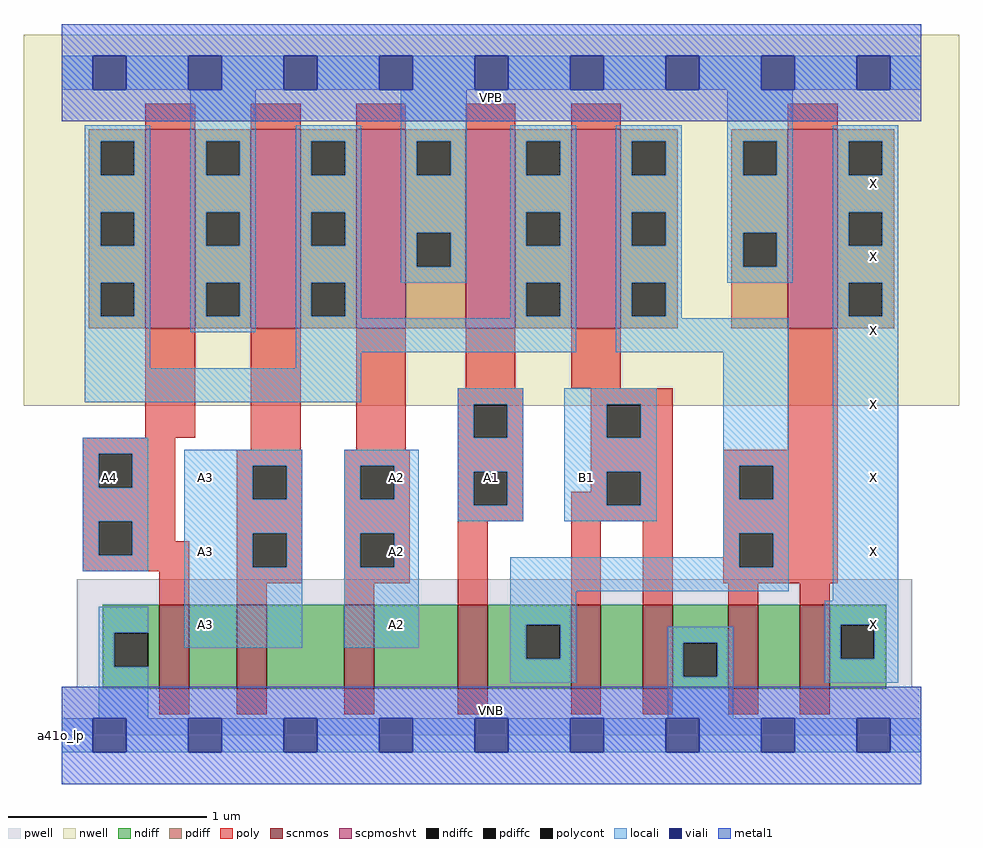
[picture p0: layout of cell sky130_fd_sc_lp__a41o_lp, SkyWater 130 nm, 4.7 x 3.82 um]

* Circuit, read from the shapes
.subckt sky130_fd_sc_lp__a41o_lp A1 A2 A3 A4 B1 VGND VNB VPB VPWR X
XM1 n1 A4 VGND VNB sky130_fd_pr__nfet_01v8 w=0.42 l=0.15
XM2 n2 A3 n1 VNB sky130_fd_pr__nfet_01v8 w=0.42 l=0.15
XM3 n3 A2 n2 VNB sky130_fd_pr__nfet_01v8 w=0.42 l=0.15
XM4 n4 A1 n3 VNB sky130_fd_pr__nfet_01v8 w=0.42 l=0.15
XM5 n5 B1 n4 VNB sky130_fd_pr__nfet_01v8 w=0.42 l=0.15
XM6 VGND B1 n5 VNB sky130_fd_pr__nfet_01v8 w=0.42 l=0.15
XM7 n6 n4 VGND VNB sky130_fd_pr__nfet_01v8 w=0.42 l=0.15
XM8 X n4 n6 VNB sky130_fd_pr__nfet_01v8 w=0.42 l=0.15
XM9 VPWR A4 n7 VPB sky130_fd_pr__pfet_01v8_hvt w=1 l=0.25
XM10 n7 A3 VPWR VPB sky130_fd_pr__pfet_01v8_hvt w=1 l=0.25
XM11 VPWR A2 n7 VPB sky130_fd_pr__pfet_01v8_hvt w=1 l=0.25
XM12 n7 A1 VPWR VPB sky130_fd_pr__pfet_01v8_hvt w=1 l=0.25
XM13 n4 B1 n7 VPB sky130_fd_pr__pfet_01v8_hvt w=1 l=0.25
XM14 X n4 VPWR VPB sky130_fd_pr__pfet_01v8_hvt w=1 l=0.25
.ends

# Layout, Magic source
magic
tech sky130A
magscale 1 2
<< nwell >>
rect -38 331 902 704
<< pwell >>
rect 15 49 855 157
rect 0 0 864 49
<< scnmos >>
rect 98 47 128 131
rect 176 47 206 131
rect 284 47 314 131
rect 398 47 428 131
rect 512 47 542 131
rect 584 47 614 131
rect 670 47 700 131
rect 742 47 772 131
<< scpmoshvt >>
rect 84 409 134 609
rect 190 409 240 609
rect 296 409 346 609
rect 406 409 456 609
rect 512 409 562 609
rect 730 409 780 609
<< ndiff >>
rect 41 103 98 131
rect 41 69 53 103
rect 87 69 98 103
rect 41 47 98 69
rect 128 47 176 131
rect 206 47 284 131
rect 314 47 398 131
rect 428 111 512 131
rect 428 77 467 111
rect 501 77 512 111
rect 428 47 512 77
rect 542 47 584 131
rect 614 93 670 131
rect 614 59 625 93
rect 659 59 670 93
rect 614 47 670 59
rect 700 47 742 131
rect 772 111 829 131
rect 772 77 783 111
rect 817 77 829 111
rect 772 47 829 77
<< pdiff >>
rect 27 597 84 609
rect 27 563 39 597
rect 73 563 84 597
rect 27 526 84 563
rect 27 492 39 526
rect 73 492 84 526
rect 27 455 84 492
rect 27 421 39 455
rect 73 421 84 455
rect 27 409 84 421
rect 134 597 190 609
rect 134 563 145 597
rect 179 563 190 597
rect 134 526 190 563
rect 134 492 145 526
rect 179 492 190 526
rect 134 455 190 492
rect 134 421 145 455
rect 179 421 190 455
rect 134 409 190 421
rect 240 597 296 609
rect 240 563 251 597
rect 285 563 296 597
rect 240 526 296 563
rect 240 492 251 526
rect 285 492 296 526
rect 240 455 296 492
rect 240 421 251 455
rect 285 421 296 455
rect 240 409 296 421
rect 346 597 406 609
rect 346 563 357 597
rect 391 563 406 597
rect 346 505 406 563
rect 346 471 357 505
rect 391 471 406 505
rect 346 409 406 471
rect 456 597 512 609
rect 456 563 467 597
rect 501 563 512 597
rect 456 526 512 563
rect 456 492 467 526
rect 501 492 512 526
rect 456 455 512 492
rect 456 421 467 455
rect 501 421 512 455
rect 456 409 512 421
rect 562 597 619 609
rect 562 563 573 597
rect 607 563 619 597
rect 562 526 619 563
rect 562 492 573 526
rect 607 492 619 526
rect 562 455 619 492
rect 562 421 573 455
rect 607 421 619 455
rect 562 409 619 421
rect 673 597 730 609
rect 673 563 685 597
rect 719 563 730 597
rect 673 505 730 563
rect 673 471 685 505
rect 719 471 730 505
rect 673 409 730 471
rect 780 597 837 609
rect 780 563 791 597
rect 825 563 837 597
rect 780 526 837 563
rect 780 492 791 526
rect 825 492 837 526
rect 780 455 837 492
rect 780 421 791 455
rect 825 421 837 455
rect 780 409 837 421
<< ndiffc >>
rect 53 69 87 103
rect 467 77 501 111
rect 625 59 659 93
rect 783 77 817 111
<< pdiffc >>
rect 39 563 73 597
rect 39 492 73 526
rect 39 421 73 455
rect 145 563 179 597
rect 145 492 179 526
rect 145 421 179 455
rect 251 563 285 597
rect 251 492 285 526
rect 251 421 285 455
rect 357 563 391 597
rect 357 471 391 505
rect 467 563 501 597
rect 467 492 501 526
rect 467 421 501 455
rect 573 563 607 597
rect 573 492 607 526
rect 573 421 607 455
rect 685 563 719 597
rect 685 471 719 505
rect 791 563 825 597
rect 791 492 825 526
rect 791 421 825 455
<< poly >>
rect 84 609 134 635
rect 190 609 240 635
rect 296 609 346 635
rect 406 609 456 635
rect 512 609 562 635
rect 730 609 780 635
rect 84 299 134 409
rect 21 283 114 299
rect 190 287 240 409
rect 296 287 346 409
rect 406 349 456 409
rect 512 349 562 409
rect 398 333 464 349
rect 398 299 414 333
rect 448 299 464 333
rect 21 249 37 283
rect 71 249 114 283
rect 21 215 114 249
rect 21 181 37 215
rect 71 195 114 215
rect 176 271 242 287
rect 176 237 192 271
rect 226 237 242 271
rect 176 203 242 237
rect 71 181 128 195
rect 21 165 128 181
rect 98 131 128 165
rect 176 169 192 203
rect 226 169 242 203
rect 176 153 242 169
rect 284 271 350 287
rect 284 237 300 271
rect 334 237 350 271
rect 284 203 350 237
rect 284 169 300 203
rect 334 169 350 203
rect 284 153 350 169
rect 398 265 464 299
rect 398 231 414 265
rect 448 231 464 265
rect 532 333 614 349
rect 532 299 548 333
rect 582 299 614 333
rect 532 265 614 299
rect 730 287 780 409
rect 532 245 548 265
rect 398 215 464 231
rect 512 231 548 245
rect 582 231 614 265
rect 512 215 614 231
rect 176 131 206 153
rect 284 131 314 153
rect 398 131 428 215
rect 512 131 542 215
rect 584 131 614 215
rect 665 271 780 287
rect 665 237 681 271
rect 715 237 780 271
rect 665 203 780 237
rect 665 169 681 203
rect 715 169 780 203
rect 665 153 780 169
rect 670 131 700 153
rect 742 131 772 153
rect 98 21 128 47
rect 176 21 206 47
rect 284 21 314 47
rect 398 21 428 47
rect 512 21 542 47
rect 584 21 614 47
rect 670 21 700 47
rect 742 21 772 47
<< polycont >>
rect 414 299 448 333
rect 37 249 71 283
rect 37 181 71 215
rect 192 237 226 271
rect 192 169 226 203
rect 300 237 334 271
rect 300 169 334 203
rect 414 231 448 265
rect 548 299 582 333
rect 548 231 582 265
rect 681 237 715 271
rect 681 169 715 203
<< locali >>
rect 0 649 31 683
rect 65 649 127 683
rect 161 649 223 683
rect 257 649 319 683
rect 353 649 415 683
rect 449 649 511 683
rect 545 649 607 683
rect 641 649 703 683
rect 737 649 799 683
rect 833 649 864 683
rect 23 597 89 613
rect 23 563 39 597
rect 73 563 89 597
rect 23 526 89 563
rect 23 492 39 526
rect 73 492 89 526
rect 23 455 89 492
rect 23 421 39 455
rect 73 421 89 455
rect 23 369 89 421
rect 129 597 195 649
rect 129 563 145 597
rect 179 563 195 597
rect 129 526 195 563
rect 129 492 145 526
rect 179 492 195 526
rect 129 455 195 492
rect 129 421 145 455
rect 179 421 195 455
rect 129 405 195 421
rect 235 597 301 613
rect 235 563 251 597
rect 285 563 301 597
rect 235 526 301 563
rect 235 492 251 526
rect 285 492 301 526
rect 235 455 301 492
rect 341 597 407 649
rect 341 563 357 597
rect 391 563 407 597
rect 341 505 407 563
rect 341 471 357 505
rect 391 471 407 505
rect 341 455 407 471
rect 451 597 517 613
rect 451 563 467 597
rect 501 563 517 597
rect 451 526 517 563
rect 451 492 467 526
rect 501 492 517 526
rect 451 455 517 492
rect 235 421 251 455
rect 285 421 301 455
rect 235 419 301 421
rect 451 421 467 455
rect 501 421 517 455
rect 451 419 517 421
rect 235 385 517 419
rect 557 597 623 613
rect 557 563 573 597
rect 607 563 623 597
rect 557 526 623 563
rect 557 492 573 526
rect 607 492 623 526
rect 557 455 623 492
rect 669 597 735 649
rect 669 563 685 597
rect 719 563 735 597
rect 669 505 735 563
rect 669 471 685 505
rect 719 471 735 505
rect 669 455 735 471
rect 775 597 841 613
rect 775 563 791 597
rect 825 563 841 597
rect 775 526 841 563
rect 775 492 791 526
rect 825 492 841 526
rect 775 455 841 492
rect 557 421 573 455
rect 607 421 623 455
rect 557 419 623 421
rect 775 421 791 455
rect 825 421 841 455
rect 557 385 731 419
rect 235 369 301 385
rect 23 335 301 369
rect 398 333 464 349
rect 398 299 414 333
rect 448 299 464 333
rect 21 283 87 299
rect 21 249 37 283
rect 71 249 87 283
rect 21 215 87 249
rect 21 181 37 215
rect 71 181 87 215
rect 21 165 87 181
rect 123 271 242 287
rect 123 237 192 271
rect 226 237 242 271
rect 123 203 242 237
rect 123 169 192 203
rect 226 169 242 203
rect 37 103 87 129
rect 37 69 53 103
rect 123 88 242 169
rect 284 271 359 287
rect 284 237 300 271
rect 334 237 359 271
rect 284 203 359 237
rect 398 265 464 299
rect 398 231 414 265
rect 448 231 464 265
rect 398 215 464 231
rect 505 333 598 349
rect 505 299 548 333
rect 582 299 598 333
rect 505 265 598 299
rect 505 231 548 265
rect 582 231 598 265
rect 505 215 598 231
rect 665 271 731 385
rect 665 237 681 271
rect 715 237 731 271
rect 284 169 300 203
rect 334 169 359 203
rect 665 203 731 237
rect 665 179 681 203
rect 284 88 359 169
rect 451 169 681 179
rect 715 169 731 203
rect 451 145 731 169
rect 451 111 517 145
rect 775 135 841 421
rect 37 17 87 69
rect 451 77 467 111
rect 501 77 517 111
rect 767 111 841 135
rect 451 53 517 77
rect 609 93 675 109
rect 609 59 625 93
rect 659 59 675 93
rect 609 17 675 59
rect 767 77 783 111
rect 817 77 841 111
rect 767 53 841 77
rect 0 -17 31 17
rect 65 -17 127 17
rect 161 -17 223 17
rect 257 -17 319 17
rect 353 -17 415 17
rect 449 -17 511 17
rect 545 -17 607 17
rect 641 -17 703 17
rect 737 -17 799 17
rect 833 -17 864 17
<< viali >>
rect 31 649 65 683
rect 127 649 161 683
rect 223 649 257 683
rect 319 649 353 683
rect 415 649 449 683
rect 511 649 545 683
rect 607 649 641 683
rect 703 649 737 683
rect 799 649 833 683
rect 31 -17 65 17
rect 127 -17 161 17
rect 223 -17 257 17
rect 319 -17 353 17
rect 415 -17 449 17
rect 511 -17 545 17
rect 607 -17 641 17
rect 703 -17 737 17
rect 799 -17 833 17
<< metal1 >>
rect 0 683 864 715
rect 0 649 31 683
rect 65 649 127 683
rect 161 649 223 683
rect 257 649 319 683
rect 353 649 415 683
rect 449 649 511 683
rect 545 649 607 683
rect 641 649 703 683
rect 737 649 799 683
rect 833 649 864 683
rect 0 617 864 649
rect 0 17 864 49
rect 0 -17 31 17
rect 65 -17 127 17
rect 161 -17 223 17
rect 257 -17 319 17
rect 353 -17 415 17
rect 449 -17 511 17
rect 545 -17 607 17
rect 641 -17 703 17
rect 737 -17 799 17
rect 833 -17 864 17
rect 0 -49 864 -17
<< labels >>
flabel pwell s 0 0 864 49 0 FreeSans 200 0 0 0 VNB
port 7 nsew ground bidirectional
flabel nwell s 0 617 864 666 0 FreeSans 200 0 0 0 VPB
port 8 nsew power bidirectional
rlabel comment s 0 0 0 0 4 a41o_lp
flabel metal1 s 0 617 864 666 0 FreeSans 340 0 0 0 VPWR
port 9 nsew power bidirectional
flabel metal1 s 0 0 864 49 0 FreeSans 340 0 0 0 VGND
port 6 nsew ground bidirectional
flabel locali s 511 242 545 276 0 FreeSans 340 0 0 0 B1
port 5 nsew signal input
flabel locali s 31 242 65 276 0 FreeSans 340 0 0 0 A4
port 4 nsew signal input
flabel locali s 127 94 161 128 0 FreeSans 340 0 0 0 A3
port 3 nsew signal input
flabel locali s 127 168 161 202 0 FreeSans 340 0 0 0 A3
port 3 nsew signal input
flabel locali s 127 242 161 276 0 FreeSans 340 0 0 0 A3
port 3 nsew signal input
flabel locali s 319 94 353 128 0 FreeSans 340 0 0 0 A2
port 2 nsew signal input
flabel locali s 319 168 353 202 0 FreeSans 340 0 0 0 A2
port 2 nsew signal input
flabel locali s 319 242 353 276 0 FreeSans 340 0 0 0 A2
port 2 nsew signal input
flabel locali s 799 94 833 128 0 FreeSans 340 0 0 0 X
port 10 nsew signal output
flabel locali s 799 168 833 202 0 FreeSans 340 0 0 0 X
port 10 nsew signal output
flabel locali s 799 242 833 276 0 FreeSans 340 0 0 0 X
port 10 nsew signal output
flabel locali s 799 316 833 350 0 FreeSans 340 0 0 0 X
port 10 nsew signal output
flabel locali s 799 390 833 424 0 FreeSans 340 0 0 0 X
port 10 nsew signal output
flabel locali s 799 464 833 498 0 FreeSans 340 0 0 0 X
port 10 nsew signal output
flabel locali s 799 538 833 572 0 FreeSans 340 0 0 0 X
port 10 nsew signal output
flabel locali s 415 242 449 276 0 FreeSans 340 0 0 0 A1
port 1 nsew signal input
<< properties >>
string LEFsite unit
string LEFclass CORE
string FIXED_BBOX 0 0 864 666
string GDS_FILE $PDKPATH/libs.ref/sky130_fd_sc_lp/gds/sky130_fd_sc_lp.gds
string LEFsymmetry X Y R90
string GDS_END 6634410
string GDS_START 6625596
<< end >>
